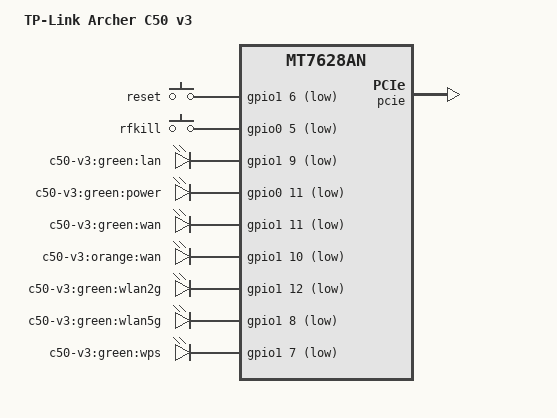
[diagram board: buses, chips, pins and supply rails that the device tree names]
/dts-v1/;

#include "TPLINK-8M.dtsi"

#include <dt-bindings/gpio/gpio.h>
#include <dt-bindings/input/input.h>

/ {
	compatible = "tplink,c50-v3", "mediatek,mt7628an-soc";
	model = "TP-Link Archer C50 v3";

	gpio-keys-polled {
		compatible = "gpio-keys-polled";
		#address-cells = <1>;
		#size-cells = <0>;
		poll-interval = <20>;

		reset {
			label = "reset";
			gpios = <&gpio1 6 GPIO_ACTIVE_LOW>;
			linux,code = <KEY_RESTART>;
		};

		rfkill {
			label = "rfkill";
			gpios = <&gpio0 5 GPIO_ACTIVE_LOW>;
			linux,code = <KEY_RFKILL>;
		};
	};

	gpio-leds {
		compatible = "gpio-leds";

		lan {
			label = "c50-v3:green:lan";
			gpios = <&gpio1 9 GPIO_ACTIVE_LOW>;
		};

		power {
			label = "c50-v3:green:power";
			gpios = <&gpio0 11 GPIO_ACTIVE_LOW>;
		};

		wan {
			label = "c50-v3:green:wan";
			gpios = <&gpio1 11 GPIO_ACTIVE_LOW>;
		};

		wan_orange {
			label = "c50-v3:orange:wan";
			gpios = <&gpio1 10 GPIO_ACTIVE_LOW>;
		};

		wlan {
			label = "c50-v3:green:wlan2g";
			gpios = <&gpio1 12 GPIO_ACTIVE_LOW>;
		};

		wlan5 {
			label = "c50-v3:green:wlan5g";
			gpios = <&gpio1 8 GPIO_ACTIVE_LOW>;
		};

		wps {
			label = "c50-v3:green:wps";
			gpios = <&gpio1 7 GPIO_ACTIVE_LOW>;
		};
	};
};

&pinctrl {
	state_default: pinctrl0 {
		gpio {
			ralink,group = "i2c", "gpio", "p0led_an", "p1led_an", "p2led_an",
				       "p3led_an", "p4led_an", "wdt", "wled_an";
			ralink,function = "gpio";
		};
	};
};

&pcie {
	status = "okay";

	pcie-bridge {
		mt76@0,0 {
			reg = <0x0000 0 0 0 0>;
			device_type = "pci";
			mediatek,mtd-eeprom = <&factory 0x28000>;
			ieee80211-freq-limit = <5000000 6000000>;
			mtd-mac-address = <&factory 0xf100>;
			mtd-mac-address-increment = <(-1)>;
		};
	};
};
